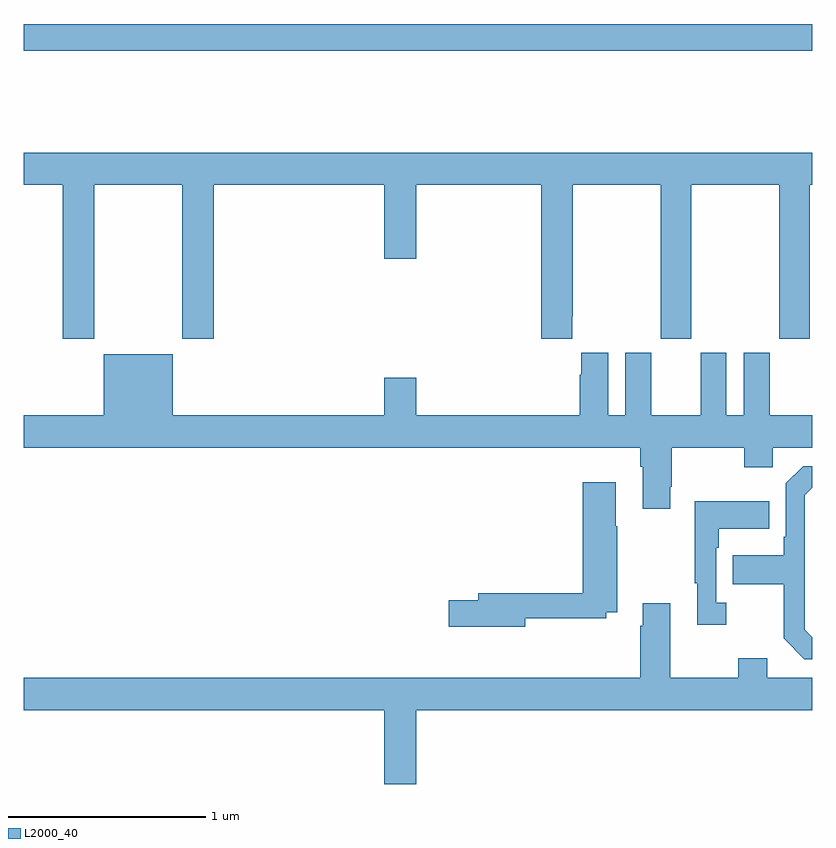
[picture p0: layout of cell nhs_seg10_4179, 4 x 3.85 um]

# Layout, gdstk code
import gdstk
lib = gdstk.Library(unit=1e-6, precision=1e-09)
def R(c, l, rs):  # rectangles x0, y0, x1, y1
    for r in rs: c.add(gdstk.rectangle(r[:2], r[2:], *l))
def P(c, l, *ps):  # polygons
    for p in ps: c.add(gdstk.Polygon(p, *l))
L2000_40 = (2000, 40)

nhs_seg10_4179 = lib.new_cell('nhs_seg10_4179')
R(nhs_seg10_4179, L2000_40, [(343,1314.316,347,1314.452)])
P(nhs_seg10_4179, L2000_40, [(343.359,1313.636),(343.804,1313.636),(343.804,1312.857),(343.964,1312.857),(343.964,1313.636),(344.828,1313.636),(344.828,1313.262),(344.992,1313.262),(344.992,1313.636),(345.626,1313.636),(345.626,1312.857),(345.781,1312.857),(345.781,1312.969),(345.786,1312.969),(345.786,1313.636),(346.231,1313.636),(346.231,1312.857),(346.386,1312.857),(346.386,1313.636),(346.831,1313.636),(346.831,1312.857),(346.986,1312.857),(346.986,1313.636),(347,1313.636),(347,1313.8),(343,1313.8),(343,1313.636),(343.199,1313.636),(343.199,1312.857),(343.359,1312.857)],
  [(346.279,1312.105),(346.287,1312.105),(346.287,1312.304),(346.654,1312.304),(346.654,1312.205),(346.8,1312.205),(346.8,1312.304),(347,1312.304),(347,1312.468),(346.783,1312.468),(346.783,1312.786),(346.652,1312.786),(346.652,1312.468),(346.564,1312.468),(346.564,1312.786),(346.433,1312.786),(346.433,1312.468),(346.183,1312.468),(346.183,1312.786),(346.052,1312.786),(346.052,1312.468),(345.964,1312.468),(345.964,1312.786),(345.827,1312.786),(345.827,1312.673),(345.821,1312.673),(345.821,1312.468),(344.992,1312.468),(344.992,1312.657),(344.828,1312.657),(344.828,1312.468),(343.756,1312.468),(343.756,1312.777),(343.406,1312.777),(343.406,1312.468),(343,1312.468),(343,1312.304),(346.127,1312.304),(346.127,1312.208),(346.139,1312.208),(346.139,1311.993),(346.279,1311.993)],
  [(347,1311.343),(346.962,1311.381),(346.962,1312.062),(347,1312.1),(347,1312.209),(346.953,1312.209),(346.866,1312.122),(346.866,1311.853),(346.854,1311.853),(346.854,1311.757),(346.597,1311.757),(346.597,1311.61),(346.854,1311.61),(346.854,1311.337),(346.959,1311.231),(347,1311.231)],
  [(345.544,1311.438),(345.954,1311.438),(345.954,1311.47),(346.011,1311.47),(346.011,1311.905),(346.003,1311.905),(346.003,1312.129),(345.836,1312.129),(345.836,1311.566),(345.305,1311.566),(345.305,1311.53),(345.156,1311.53),(345.156,1311.395),(345.544,1311.395)],
  [(346.564,1311.518),(346.512,1311.518),(346.512,1311.797),(346.525,1311.797),(346.525,1311.893),(346.781,1311.893),(346.781,1312.033),(346.404,1312.033),(346.404,1311.617),(346.415,1311.617),(346.415,1311.405),(346.564,1311.405)],
  [(344.992,1310.972),(347,1310.972),(347,1311.136),(346.771,1311.136),(346.771,1311.235),(346.624,1311.235),(346.624,1311.136),(346.279,1311.136),(346.279,1311.514),(346.139,1311.514),(346.139,1311.401),(346.127,1311.401),(346.127,1311.136),(343,1311.136),(343,1310.972),(344.828,1310.972),(344.828,1310.598),(344.992,1310.598)])

lib.write_gds('nhs_seg10_4179.gds')
